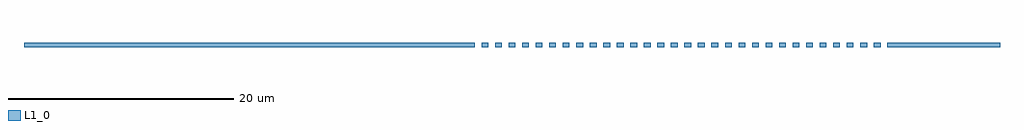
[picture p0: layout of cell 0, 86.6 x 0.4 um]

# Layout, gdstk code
import gdstk
lib = gdstk.Library(unit=1e-6, precision=1e-09)
def R(c, l, rs):  # rectangles x0, y0, x1, y1
    for r in rs: c.add(gdstk.rectangle(r[:2], r[2:], *l))
def A(c, l, x, y, w, h, nx, ny, dx, dy):  # array of equal rectangles
    R(c, l, [(x+i*dx, y+j*dy, x+i*dx+w, y+j*dy+h) for i in range(nx) for j in range(ny)])
L1_0 = (1, 0)

c_0 = lib.new_cell('0')
A(c_0, L1_0, 11.925, -0.2, 0.6, 0.4, 30, 1, 1.2, 0)
R(c_0, L1_0, [(-28.675,-0.2,11.325,0.2), (47.925,-0.2,57.925,0.2)])

lib.write_gds('0.gds')
